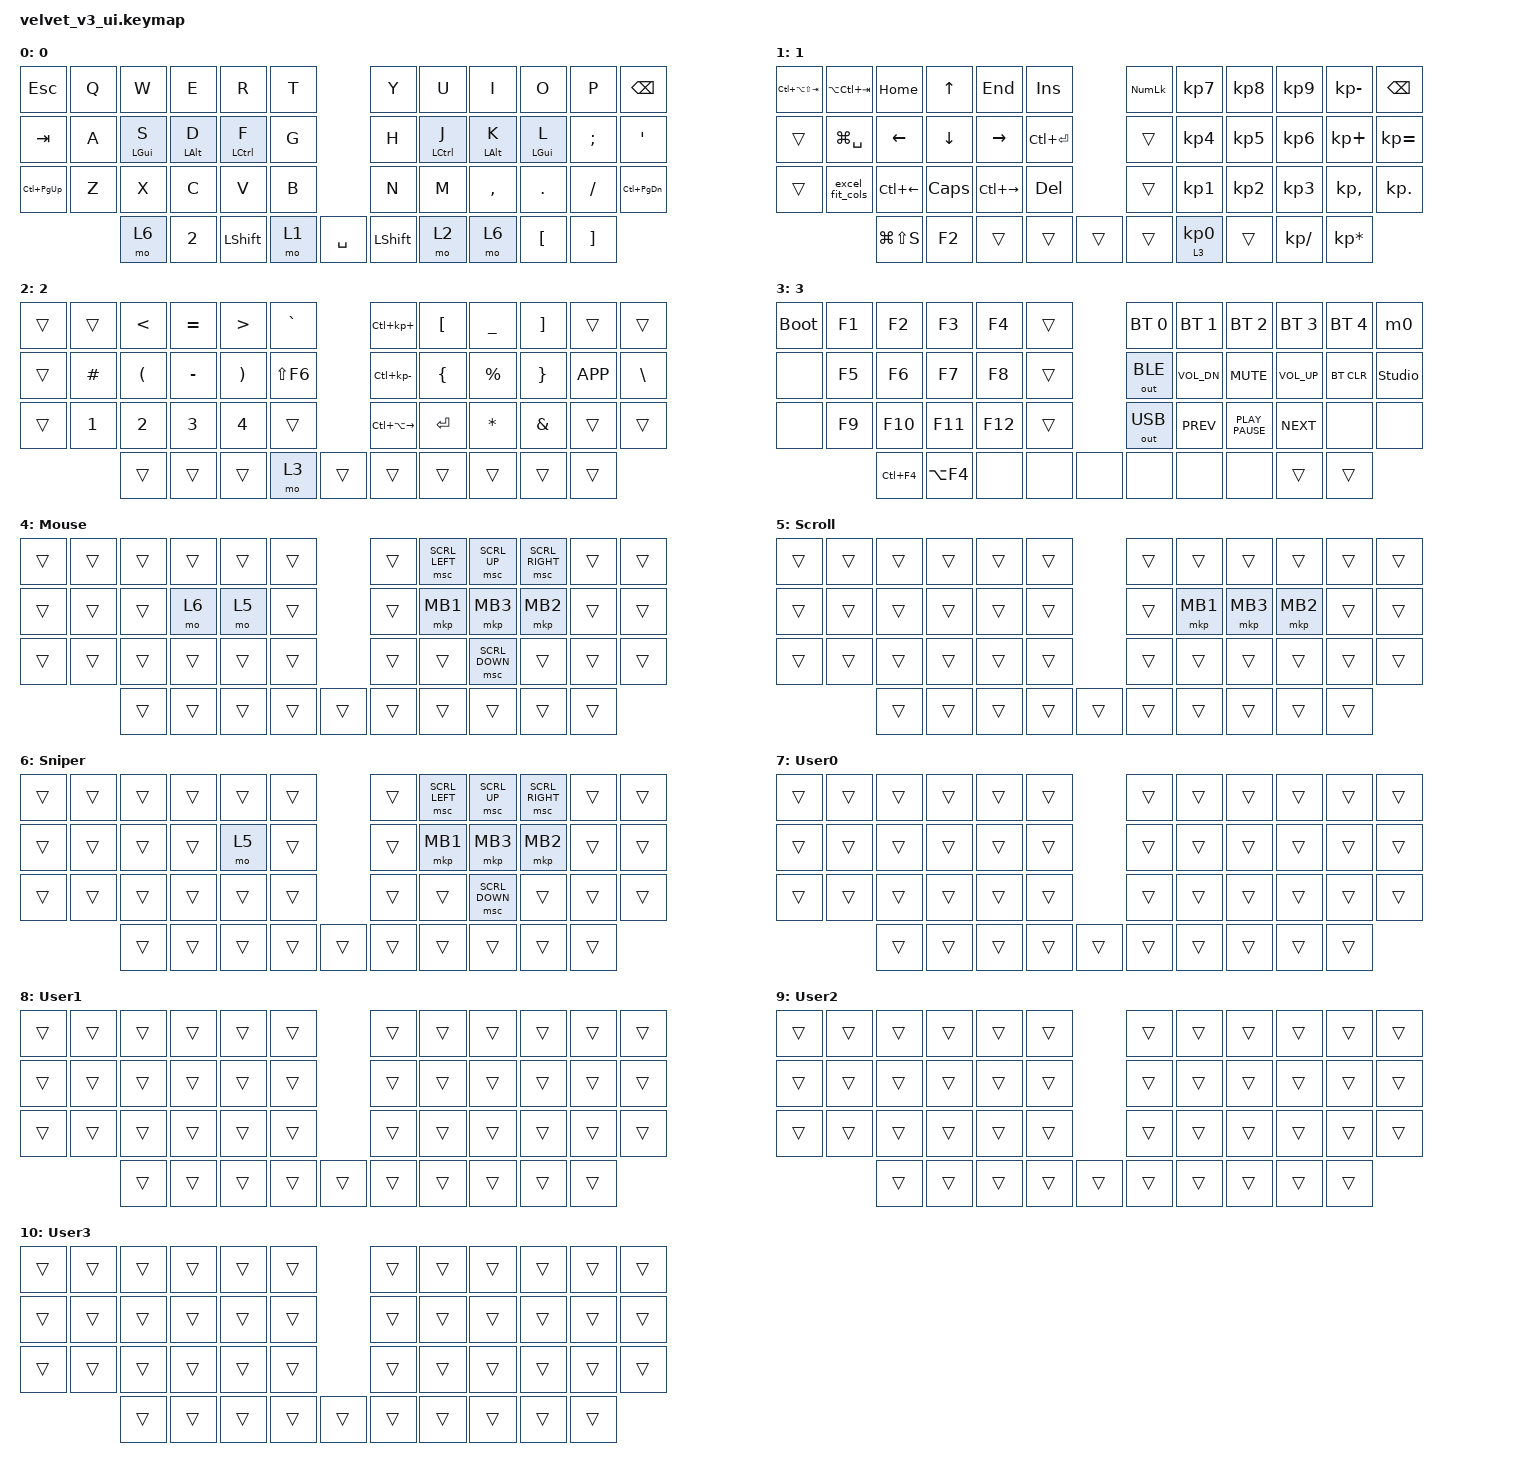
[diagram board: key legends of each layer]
#include "keys_ru.h"
#include <dt-bindings/zmk/input_transform.h>
#include <input/processors.dtsi>
#include <zephyr/dt-bindings/input/input-event-codes.h>
#include <behaviors.dtsi>
#include <dt-bindings/zmk/bt.h>
#include <dt-bindings/zmk/keys.h>
#include <dt-bindings/zmk/outputs.h>
#include <dt-bindings/zmk/pointing.h>

/ {
    behaviors {
        cap_sen: cap_sen {
            compatible = "zmk,behavior-hold-tap";
            label = "CAP_SEN";
            bindings = <&mo>, <&mkp>;

            #binding-cells = <2>;
            tapping-term-ms = <150>;
            hold-while-undecided;
        };

        hrm: hrm {
            compatible = "zmk,behavior-hold-tap";
            label = "HOME_ROW_MODS";
            bindings = <&kp>, <&kp>;

            #binding-cells = <2>;
            require-prior-idle-ms = <30>;
            flavor = "balanced";
            tapping-term-ms = <200>;
        };
    };

    combos {
        compatible = "zmk,combos";

        dollar {
            bindings = <&kp DOLLAR>;
            key-positions = <19 20>;
        };
    };

    macros {
        excel_fit_cols: excel_fit_cols {
            compatible = "zmk,behavior-macro";
            #binding-cells = <0>;
            bindings = <&kp LEFT_ALT &kp Z &kp N &kp A &kp COMMA &kp ENTER>;
            label = "EXCEL_FIT_COLS";
        };

        m0: m0 {
            compatible = "zmk,behavior-macro";
            #binding-cells = <0>;
            bindings = <&kp T &kp X &kp LS(T) &kp LS(V) &kp Y &kp LS(M) &kp W &kp N3 &kp N4 &kp N7 &kp LS(D) &kp N6 &kp LS(Y) &kp N9 &kp W &kp N8 &kp ENTER>;
            label = "M0";
        };
    };

    keymap {
        compatible = "zmk,keymap";

        base {
            bindings = <
&kp ESC        &kp Q  &kp W            &kp E            &kp R           &kp T                               &kp Y  &kp U         &kp I            &kp O            &kp P      &kp BSPC
&kp TAB        &kp A  &hrm LEFT_GUI S  &hrm LEFT_ALT D  &hrm LCTRL F    &kp G                               &kp H  &hrm LCTRL J  &hrm LEFT_ALT K  &hrm LEFT_GUI L  &kp SEMI   &kp APOS
&kp LC(PG_UP)  &kp Z  &kp X            &kp C            &kp V           &kp B                               &kp N  &kp M         &kp COMMA        &kp DOT          &kp SLASH  &kp LC(PG_DN)
                      &mo 6            &kp NUMBER_2     &kp LEFT_SHIFT  &mo 1  &kp SPACE    &kp LEFT_SHIFT  &mo 2  &mo 6         &kp LBKT         &kp RBKT
            >;

            display-name = "0";
        };

        nav {
            bindings = <
&kp LC(LA(LS(TAB)))  &kp LA(LC(TAB))  &kp HOME       &kp UP        &kp END        &kp INS                        &kp KP_NUMLOCK     &kp KP_NUMBER_7  &kp KP_NUMBER_8  &kp KP_NUMBER_9  &kp KP_MINUS  &kp BACKSPACE
&trans               &kp LG(SPACE)    &kp LEFT       &kp DOWN      &kp RIGHT      &kp LC(RET)                    &trans             &kp KP_NUMBER_4  &kp KP_NUMBER_5  &kp KP_NUMBER_6  &kp KP_PLUS   &kp KP_EQUAL
&trans               &excel_fit_cols  &kp LC(LEFT)   &kp CAPSLOCK  &kp LC(RIGHT)  &kp DEL                        &trans             &kp KP_NUMBER_1  &kp KP_NUMBER_2  &kp KP_NUMBER_3  &kp KP_COMMA  &kp KP_DOT
                                      &kp LG(LS(S))  &kp F2        &trans         &trans       &trans    &trans  &lt 3 KP_NUMBER_0  &trans           &kp KP_DIVIDE    &kp KP_MULTIPLY
            >;

            display-name = "1";
        };

        sym {
            bindings = <
&trans  &trans    &kp LT        &kp EQUAL     &kp GT                 &kp GRAVE                     &kp LC(KP_PLUS)    &kp LBKT   &kp UNDER    &kp RBKT       &trans     &trans
&trans  &kp HASH  &kp LPAR      &kp MINUS     &kp RIGHT_PARENTHESIS  &kp LS(F6)                    &kp LC(KP_MINUS)   &kp LBRC   &kp PERCENT  &kp RBRC       &kp K_APP  &kp BACKSLASH
&trans  &kp N1    &kp NUMBER_2  &kp NUMBER_3  &kp NUMBER_4           &trans                        &kp LC(LA(RIGHT))  &kp ENTER  &kp ASTRK    &kp AMPERSAND  &trans     &trans
                  &trans        &trans        &trans                 &mo 3       &trans    &trans  &trans             &trans     &trans       &trans
            >;

            display-name = "2";
        };

        adj {
            bindings = <
&bootloader  &kp F1  &kp F2      &kp F3      &kp F4   &trans                  &bt BT_SEL 0  &bt BT_SEL 1  &bt BT_SEL 2      &bt BT_SEL 3  &bt BT_SEL 4  &m0
&none        &kp F5  &kp F6      &kp F7      &kp F8   &trans                  &out OUT_BLE  &kp C_VOL_DN  &kp C_MUTE        &kp C_VOL_UP  &bt BT_CLR    &studio_unlock
&none        &kp F9  &kp F10     &kp F11     &kp F12  &trans                  &out OUT_USB  &kp K_PREV    &kp K_PLAY_PAUSE  &kp K_NEXT    &none         &none
                     &kp LC(F4)  &kp LA(F4)  &none    &none   &none    &none  &none         &none         &trans            &trans
            >;

            display-name = "3";
        };

        mouse {
            bindings = <
&trans  &trans  &trans  &trans  &trans  &trans                    &trans  &msc SCRL_LEFT  &msc SCRL_UP    &msc SCRL_RIGHT  &trans  &trans
&trans  &trans  &trans  &mo 6   &mo 5   &trans                    &trans  &mkp MB1        &mkp MB3        &mkp MB2         &trans  &trans
&trans  &trans  &trans  &trans  &trans  &trans                    &trans  &trans          &msc SCRL_DOWN  &trans           &trans  &trans
                &trans  &trans  &trans  &trans  &trans    &trans  &trans  &trans          &trans          &trans
            >;

            display-name = "Mouse";
        };

        scroll {
            bindings = <
&trans  &trans  &trans  &trans  &trans  &trans                    &trans  &trans    &trans    &trans    &trans  &trans
&trans  &trans  &trans  &trans  &trans  &trans                    &trans  &mkp MB1  &mkp MB3  &mkp MB2  &trans  &trans
&trans  &trans  &trans  &trans  &trans  &trans                    &trans  &trans    &trans    &trans    &trans  &trans
                &trans  &trans  &trans  &trans  &trans    &trans  &trans  &trans    &trans    &trans
            >;

            display-name = "Scroll";
        };

        sniper {
            bindings = <
&trans  &trans  &trans  &trans  &trans  &trans                    &trans  &msc SCRL_LEFT  &msc SCRL_UP    &msc SCRL_RIGHT  &trans  &trans
&trans  &trans  &trans  &trans  &mo 5   &trans                    &trans  &mkp MB1        &mkp MB3        &mkp MB2         &trans  &trans
&trans  &trans  &trans  &trans  &trans  &trans                    &trans  &trans          &msc SCRL_DOWN  &trans           &trans  &trans
                &trans  &trans  &trans  &trans  &trans    &trans  &trans  &trans          &trans          &trans
            >;

            display-name = "Sniper";
        };

        User0 {
            bindings = <
&trans  &trans  &trans  &trans  &trans  &trans                    &trans  &trans  &trans  &trans  &trans  &trans
&trans  &trans  &trans  &trans  &trans  &trans                    &trans  &trans  &trans  &trans  &trans  &trans
&trans  &trans  &trans  &trans  &trans  &trans                    &trans  &trans  &trans  &trans  &trans  &trans
                &trans  &trans  &trans  &trans  &trans    &trans  &trans  &trans  &trans  &trans
            >;

            display-name = "User0";
        };

        User1 {
            bindings = <
&trans  &trans  &trans  &trans  &trans  &trans                    &trans  &trans  &trans  &trans  &trans  &trans
&trans  &trans  &trans  &trans  &trans  &trans                    &trans  &trans  &trans  &trans  &trans  &trans
&trans  &trans  &trans  &trans  &trans  &trans                    &trans  &trans  &trans  &trans  &trans  &trans
                &trans  &trans  &trans  &trans  &trans    &trans  &trans  &trans  &trans  &trans
            >;

            display-name = "User1";
        };

        User2 {
            bindings = <
&trans  &trans  &trans  &trans  &trans  &trans                    &trans  &trans  &trans  &trans  &trans  &trans
&trans  &trans  &trans  &trans  &trans  &trans                    &trans  &trans  &trans  &trans  &trans  &trans
&trans  &trans  &trans  &trans  &trans  &trans                    &trans  &trans  &trans  &trans  &trans  &trans
                &trans  &trans  &trans  &trans  &trans    &trans  &trans  &trans  &trans  &trans
            >;

            display-name = "User2";
        };

        User3 {
            bindings = <
&trans  &trans  &trans  &trans  &trans  &trans                    &trans  &trans  &trans  &trans  &trans  &trans
&trans  &trans  &trans  &trans  &trans  &trans                    &trans  &trans  &trans  &trans  &trans  &trans
&trans  &trans  &trans  &trans  &trans  &trans                    &trans  &trans  &trans  &trans  &trans  &trans
                &trans  &trans  &trans  &trans  &trans    &trans  &trans  &trans  &trans  &trans
            >;

            display-name = "User3";
        };
    };
};

&trackball { cpi = <1000>; };

&trackball_listener {
    input-processors = <&zip_xy_scaler 9 20>;

    scroller {
        layers = <5>;
        input-processors =
            <&zip_xy_transform INPUT_TRANSFORM_Y_INVERT>,
            <&zip_xy_scaler 1 32>,
            <&zip_xy_to_scroll_mapper>;
    };

    sniper {
        layers = <6>;
        input-processors = <&zip_xy_scaler 1 4>;
    };
};
